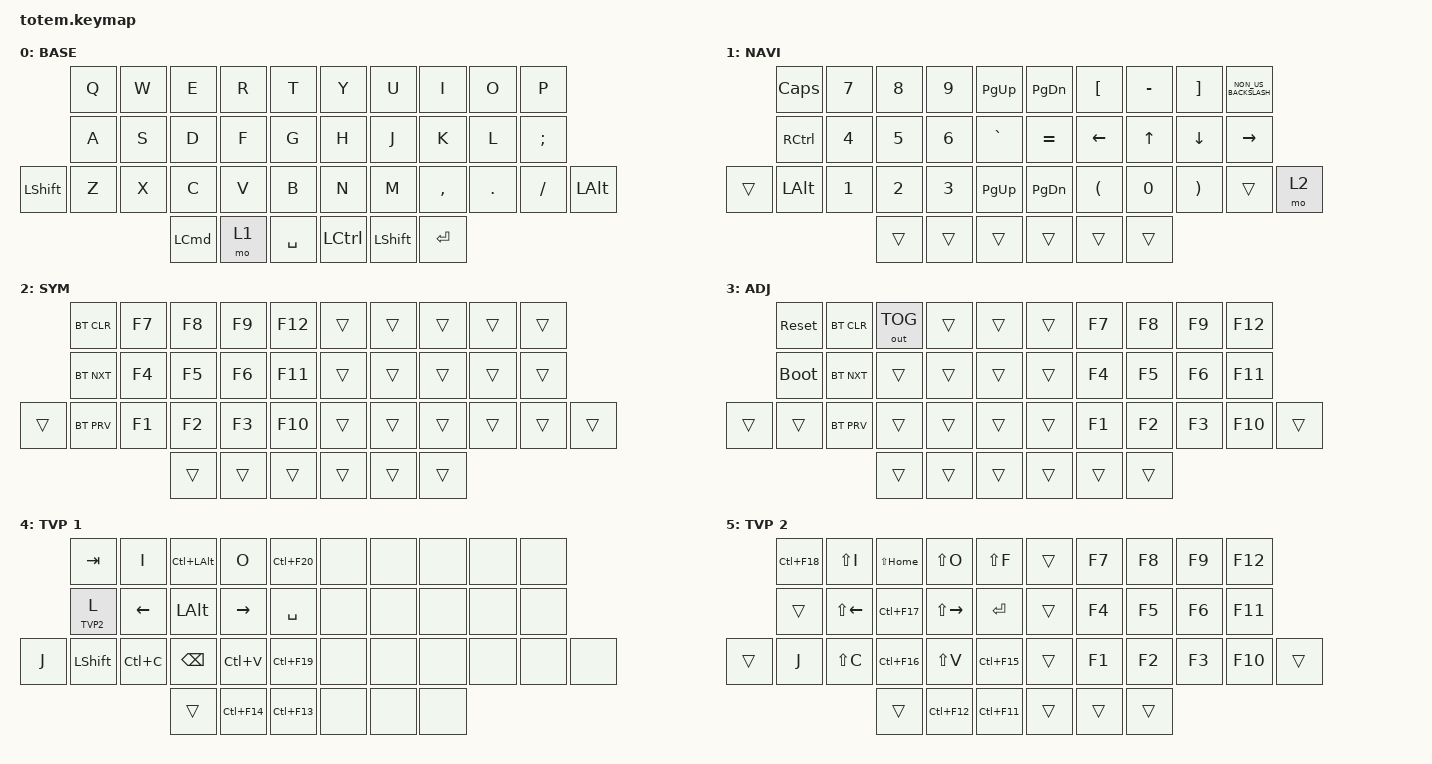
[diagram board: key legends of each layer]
//
//                                                        ▀▀▀▀▀     ▀▀▀▀▀          ▀▀█▀▀
//                                                        ▄▀▀▀▄  ▄  ▄▀▀▀▄  ▄  ▄▀▀▀▄  █  ▄▀▀▀▄
//                                                        █   █  █  █   █  █  █   █  █  █   █
//                                                         ▀▀▀   █   ▀▀▀   █   ▀▀▀   ▀   ▀▀▀
//                                                               █      ▄▄▄█▄▄▄    █   █  
//                                                               ▀      █  █  █     █▄█
//                                                             ▀▀▀▀▀    █  █  █      ▀
//                                                                      ▀  ▀  ▀
//
// ▄▄▄▄▄▄▄▄▄▄▄▄▄▄▄▄▄▄▄▄▄▄▄▄▄▄▄▄▄▄▄▄▄▄▄▄▄▄▄▄▄▄▄▄▄▄▄▄▄▄▄▄▄▄▄▄▄▄▄▄▄▄▄▄▄▄▄▄▄▄▄▄▄▄▄▄▄▄▄▄▄▄▄▄▄▄▄▄▄▄▄▄▄▄▄▄▄▄▄▄▄▄▄▄▄▄▄▄▄▄▄▄▄▄▄▄▄▄▄▄▄▄▄▄▄▄▄▄▄▄▄▄▄▄▄▄▄▄▄▄▄▄▄▄▄▄▄▄▄

#include <behaviors.dtsi>
#include <dt-bindings/zmk/bt.h>
#include <dt-bindings/zmk/keys.h>
#include <dt-bindings/zmk/outputs.h>

#define BASE 0
#define NAV  1
#define SYM  2
#define ADJ  3
#define TVP1 4
#define TVP2 5

&mt {
    quick-tap-ms = <100>;
    global-quick-tap;
    flavor = "tap-preferred";
    tapping-term-ms = <170>;
};

/ {
    combos {
        compatible = "zmk,combos";

        combo_esc {
            timeout-ms = <50>;
            key-positions = <13 12>;
            bindings = <&kp RIGHT_ALT>;
            require-prior-idle-ms = <100>;
        };

        altfsd {
            bindings = <&kp LEFT_COMMAND>;
            key-positions = <17 16>;
            require-prior-idle-ms = <100>;
        };

        ralt {
            bindings = <&kp TAB>;
            key-positions = <12 11>;
            require-prior-idle-ms = <100>;
        };

        space {
            bindings = <&kp ESCAPE>;
            key-positions = <23 22>;
        };

        back {
            bindings = <&kp BACKSPACE>;
            key-positions = <17 18>;
            require-prior-idle-ms = <100>;
            slow-release;
        };
    };

    macros {
        gif: gif {
            label = "giphy";
            compatible = "zmk,behavior-macro";
            #binding-cells = <0>;
            bindings =
                <&macro_press>,
                <&kp LSHFT>,
                <&macro_tap>,
                <&kp N2>,
                <&macro_release>,
                <&kp LSHFT>,
                <&macro_tap>,
                <&kp G &kp I &kp F>;
        };
    };

    keymap {
        compatible = "zmk,keymap";

        // ▄▄▄▄▄▄▄▄▄▄▄▄▄▄▄▄▄▄▄▄▄▄▄▄▄▄▄▄▄▄▄▄▄▄▄▄▄▄▄▄▄▄▄▄▄▄▄▄▄▄▄▄▄▄▄▄▄▄▄▄▄▄▄▄▄▄▄▄▄▄▄▄▄▄▄▄▄▄▄▄▄▄▄▄▄▄▄▄▄▄▄▄▄▄▄▄▄▄▄▄▄▄▄▄▄▄▄▄▄▄▄▄▄▄▄▄▄▄▄▄▄▄▄▄▄▄▄▄▄▄▄▄▄▄▄▄▄▄▄▄▄▄▄▄▄▄▄▄▄

        base_layer {
            // ┏━━━━━━━━━━━━━━━━━━━━━━━━━━━━━━━━━━━━━━━┓

            label = "BASE";

            // ┗━━━━━━━━━━━━━━━━━━━━━━━━━━━━━━━━━━━━━━━┛
            //             ┏━━━━━━━━━━━┳━━━━━━━━━━━┳━━━━━━━━━━━┳━━━━━━━━━━━┳━━━━━━━━━━━┓   ┏━━━━━━━━━━━┳━━━━━━━━━━━┳━━━━━━━━━━━┳━━━━━━━━━━━┳━━━━━━━━━━━┓
            //             ┃     Q     ┃     W     ┃     F     ┃     P     ┃     G     ┃   ┃     J     ┃     L     ┃     U     ┃     Y     ┃     ;     ┃
            //             ┣━━━━━━━━━━━╋━━━━━━━━━━━╋━━━━━━━━━━━╋━━━━━━━━━━━╋━━━━━━━━━━━┫   ┣━━━━━━━━━━━╋━━━━━━━━━━━╋━━━━━━━━━━━╋━━━━━━━━━━━╋━━━━━━━━━━━┫
            //             ┃     A     ┃     R     ┃     S     ┃     T     ┃     D     ┃   ┃     H     ┃     N     ┃     E     ┃     I     ┃     O     ┃
            // ┏━━━━━━━━━━━╋━━━━━━━━━━━╋━━━━━━━━━━━╋━━━━━━━━━━━╋━━━━━━━━━━━╋━━━━━━━━━━━┫   ┣━━━━━━━━━━━╋━━━━━━━━━━━╋━━━━━━━━━━━╋━━━━━━━━━━━╋━━━━━━━━━━━╋━━━━━━━━━━━┓
            // ┃     Q     ┃     Z     ┃     X     ┃     C     ┃     V     ┃     B     ┃   ┃     K     ┃     M     ┃     ,     ┃     .     ┃     /     ┃     \     ┃
            // ┗━━━━━━━━━━━┻━━━━━━━━━━━┻━━━━━━━━━━━╋━━━━━━━━━━━╋━━━━━━━━━━━╋━━━━━━━━━━━┫   ┣━━━━━━━━━━━╋━━━━━━━━━━━╋━━━━━━━━━━━╋━━━━━━━━━━━┻━━━━━━━━━━━┻━━━━━━━━━━━┛
            //                                     ┃    DEL    ┃    TAB    ┃    SPC    ┃   ┃   ENTER   ┃           ┃   BSPC    ┃
            //                                     ┗━━━━━━━━━━━┻━━━━━━━━━━━┻━━━━━━━━━━━┛   ┗━━━━━━━━━━━┻━━━━━━━━━━━┻━━━━━━━━━━━┛

            bindings = <
                &kp Q  &kp W  &kp E             &kp R  &kp T        &kp Y             &kp U      &kp I      &kp O    &kp P
                &kp A  &kp S  &kp D             &kp F  &kp G        &kp H             &kp J      &kp K      &kp L    &kp SEMICOLON
&kp LEFT_SHIFT  &kp Z  &kp X  &kp C             &kp V  &kp B        &kp N             &kp M      &kp COMMA  &kp DOT  &kp FSLH       &kp LEFT_ALT
                              &kp LEFT_COMMAND  &mo 1  &kp SPACE    &kp LEFT_CONTROL  &kp LSHFT  &kp ENTER
            >;
        };

        // ▄▄▄▄▄▄▄▄▄▄▄▄▄▄▄▄▄▄▄▄▄▄▄▄▄▄▄▄▄▄▄▄▄▄▄▄▄▄▄▄▄▄▄▄▄▄▄▄▄▄▄▄▄▄▄▄▄▄▄▄▄▄▄▄▄▄▄▄▄▄▄▄▄▄▄▄▄▄▄▄▄▄▄▄▄▄▄▄▄▄▄▄▄▄▄▄▄▄▄▄▄▄▄▄▄▄▄▄▄▄▄▄▄▄▄▄▄▄▄▄▄▄▄▄▄▄▄▄▄▄▄▄▄▄▄▄▄▄▄▄▄▄▄▄▄▄▄▄▄

        nav_layer {
            // ┏━━━━━━━━━━━━━━━━━━━━━━━━━━━━━━━━━━━━━━━┓

            label = "NAVI";

            // ┗━━━━━━━━━━━━━━━━━━━━━━━━━━━━━━━━━━━━━━━┛
            //             ┏━━━━━━━━━━━┳━━━━━━━━━━━┳━━━━━━━━━━━┳━━━━━━━━━━━┳━━━━━━━━━━━┓   ┏━━━━━━━━━━━┳━━━━━━━━━━━┳━━━━━━━━━━━┳━━━━━━━━━━━┳━━━━━━━━━━━┓
            //             ┃           ┃           ┃     UP    ┃           ┃     {     ┃   ┃     }     ┃     7     ┃     8     ┃     9     ┃     +     ┃
            //             ┣━━━━━━━━━━━╋━━━━━━━━━━━╋━━━━━━━━━━━╋━━━━━━━━━━━╋━━━━━━━━━━━┫   ┣━━━━━━━━━━━╋━━━━━━━━━━━╋━━━━━━━━━━━╋━━━━━━━━━━━╋━━━━━━━━━━━┫
            //             ┃   SHIFT   ┃   LEFT    ┃    DOWN   ┃   RIGHT   ┃     [     ┃   ┃     ]     ┃     4     ┃     5     ┃     6     ┃     -     ┃
            // ┏━━━━━━━━━━━╋━━━━━━━━━━━╋━━━━━━━━━━━╋━━━━━━━━━━━╋━━━━━━━━━━━╋━━━━━━━━━━━┫   ┣━━━━━━━━━━━╋━━━━━━━━━━━╋━━━━━━━━━━━╋━━━━━━━━━━━╋━━━━━━━━━━━╋━━━━━━━━━━━┓
            // ┃           ┃           ┃   P UP    ┃  C LOCK   ┃  P DOWN   ┃     (     ┃   ┃     )     ┃     1     ┃     2     ┃     3     ┃     *     ┃           ┃
            // ┗━━━━━━━━━━━┻━━━━━━━━━━━┻━━━━━━━━━━━╋━━━━━━━━━━━╋━━━━━━━━━━━╋━━━━━━━━━━━┫   ┣━━━━━━━━━━━╋━━━━━━━━━━━╋━━━━━━━━━━━╋━━━━━━━━━━━┻━━━━━━━━━━━┻━━━━━━━━━━━┛
            //                                     ┃           ┃    TAB    ┃    SPC    ┃   ┃    DEL    ┃     0     ┃           ┃
            //                                     ┗━━━━━━━━━━━┻━━━━━━━━━━━┻━━━━━━━━━━━┛   ┗━━━━━━━━━━━┻━━━━━━━━━━━┻━━━━━━━━━━━┛

            bindings = <
        &kp CAPSLOCK  &kp N7        &kp N8        &kp N9        &kp PG_UP      &kp PAGE_DOWN  &kp LEFT_BRACKET      &kp MINUS     &kp RIGHT_BRACKET      &kp NON_US_BACKSLASH
        &kp RCTRL     &kp NUMBER_4  &kp N5        &kp NUMBER_6  &kp GRAVE      &kp EQUAL      &kp LEFT_ARROW        &kp UP_ARROW  &kp DOWN               &kp RIGHT_ARROW
&trans  &kp LEFT_ALT  &kp NUMBER_1  &kp NUMBER_2  &kp NUMBER_3  &kp PAGE_UP    &kp PAGE_DOWN  &kp LEFT_PARENTHESIS  &kp NUMBER_0  &kp RIGHT_PARENTHESIS  &trans                &mo 2
                                    &trans        &trans        &trans         &trans         &trans                &trans
            >;
        };

        // ▄▄▄▄▄▄▄▄▄▄▄▄▄▄▄▄▄▄▄▄▄▄▄▄▄▄▄▄▄▄▄▄▄▄▄▄▄▄▄▄▄▄▄▄▄▄▄▄▄▄▄▄▄▄▄▄▄▄▄▄▄▄▄▄▄▄▄▄▄▄▄▄▄▄▄▄▄▄▄▄▄▄▄▄▄▄▄▄▄▄▄▄▄▄▄▄▄▄▄▄▄▄▄▄▄▄▄▄▄▄▄▄▄▄▄▄▄▄▄▄▄▄▄▄▄▄▄▄▄▄▄▄▄▄▄▄▄▄▄▄▄▄▄▄▄▄▄▄▄

        sim_layer {
            // ┏━━━━━━━━━━━━━━━━━━━━━━━━━━━━━━━━━━━━━━━┓

            label = "SYM";

            // ┗━━━━━━━━━━━━━━━━━━━━━━━━━━━━━━━━━━━━━━━┛
            //             ┏━━━━━━━━━━━┳━━━━━━━━━━━┳━━━━━━━━━━━┳━━━━━━━━━━━┳━━━━━━━━━━━┓   ┏━━━━━━━━━━━┳━━━━━━━━━━━┳━━━━━━━━━━━┳━━━━━━━━━━━┳━━━━━━━━━━━┓
            //             ┃     !     ┃     @     ┃     #     ┃     $     ┃     %     ┃   ┃     ˆ     ┃     &     ┃     Ü     ┃     '     ┃     "     ┃
            //             ┣━━━━━━━━━━━╋━━━━━━━━━━━╋━━━━━━━━━━━╋━━━━━━━━━━━╋━━━━━━━━━━━┫   ┣━━━━━━━━━━━╋━━━━━━━━━━━╋━━━━━━━━━━━╋━━━━━━━━━━━╋━━━━━━━━━━━┫
            //             ┃     Ä     ┃           ┃    SZ     ┃           ┃           ┃   ┃   MUTE    ┃   YEN     ┃   EURO    ┃  POUND    ┃     Ö     ┃
            // ┏━━━━━━━━━━━╋━━━━━━━━━━━╋━━━━━━━━━━━╋━━━━━━━━━━━╋━━━━━━━━━━━╋━━━━━━━━━━━┫   ┣━━━━━━━━━━━╋━━━━━━━━━━━╋━━━━━━━━━━━╋━━━━━━━━━━━╋━━━━━━━━━━━╋━━━━━━━━━━━┓
            // ┃           ┃  EMAIL1   ┃  EMAIL2   ┃           ┃           ┃           ┃   ┃   VOL-    ┃   VOL+    ┃   LAST    ┃   NEXT    ┃     \     ┃           ┃
            // ┗━━━━━━━━━━━┻━━━━━━━━━━━┻━━━━━━━━━━━╋━━━━━━━━━━━╋━━━━━━━━━━━╋━━━━━━━━━━━┫   ┣━━━━━━━━━━━╋━━━━━━━━━━━╋━━━━━━━━━━━╋━━━━━━━━━━━┻━━━━━━━━━━━┻━━━━━━━━━━━┛
            //                                     ┃           ┃    GIF    ┃    ADJ    ┃   ┃           ┃           ┃           ┃
            //                                     ┗━━━━━━━━━━━┻━━━━━━━━━━━┻━━━━━━━━━━━┛   ┗━━━━━━━━━━━┻━━━━━━━━━━━┻━━━━━━━━━━━┛

            bindings = <
        &bt BT_CLR  &kp F7  &kp F8  &kp F9  &kp F12    &trans  &trans  &trans  &trans  &trans
        &bt BT_NXT  &kp F4  &kp F5  &kp F6  &kp F11    &trans  &trans  &trans  &trans  &trans
&trans  &bt BT_PRV  &kp F1  &kp F2  &kp F3  &kp F10    &trans  &trans  &trans  &trans  &trans  &trans
                            &trans  &trans  &trans     &trans  &trans  &trans
            >;
        };

        // ▄▄▄▄▄▄▄▄▄▄▄▄▄▄▄▄▄▄▄▄▄▄▄▄▄▄▄▄▄▄▄▄▄▄▄▄▄▄▄▄▄▄▄▄▄▄▄▄▄▄▄▄▄▄▄▄▄▄▄▄▄▄▄▄▄▄▄▄▄▄▄▄▄▄▄▄▄▄▄▄▄▄▄▄▄▄▄▄▄▄▄▄▄▄▄▄▄▄▄▄▄▄▄▄▄▄▄▄▄▄▄▄▄▄▄▄▄▄▄▄▄▄▄▄▄▄▄▄▄▄▄▄▄▄▄▄▄▄▄▄▄▄▄▄▄▄▄▄▄

        adjust_layer {
            // ┏━━━━━━━━━━━━━━━━━━━━━━━━━━━━━━━━━━━━━━━┓

            label = "ADJ";

            // ┗━━━━━━━━━━━━━━━━━━━━━━━━━━━━━━━━━━━━━━━┛
            //             ┏━━━━━━━━━━━┳━━━━━━━━━━━┳━━━━━━━━━━━┳━━━━━━━━━━━┳━━━━━━━━━━━┓   ┏━━━━━━━━━━━┳━━━━━━━━━━━┳━━━━━━━━━━━┳━━━━━━━━━━━┳━━━━━━━━━━━┓
            //             ┃   RESET   ┃ BT CLEAR  ┃  OUT TOG  ┃           ┃           ┃   ┃           ┃    F7     ┃    F8     ┃    F9     ┃    F12    ┃
            //             ┣━━━━━━━━━━━╋━━━━━━━━━━━╋━━━━━━━━━━━╋━━━━━━━━━━━╋━━━━━━━━━━━┫   ┣━━━━━━━━━━━╋━━━━━━━━━━━╋━━━━━━━━━━━╋━━━━━━━━━━━╋━━━━━━━━━━━┫
            //             ┃ BOOTLOAD  ┃ BT NEXT   ┃           ┃           ┃           ┃   ┃           ┃    F4     ┃    F5     ┃    F6     ┃    F11    ┃
            // ┏━━━━━━━━━━━╋━━━━━━━━━━━╋━━━━━━━━━━━╋━━━━━━━━━━━╋━━━━━━━━━━━╋━━━━━━━━━━━┫   ┣━━━━━━━━━━━╋━━━━━━━━━━━╋━━━━━━━━━━━╋━━━━━━━━━━━╋━━━━━━━━━━━╋━━━━━━━━━━━┓
            // ┃           ┃           ┃ BT PREV   ┃           ┃           ┃           ┃   ┃           ┃    F1     ┃    F2     ┃    F3     ┃    F10    ┃           ┃
            // ┗━━━━━━━━━━━┻━━━━━━━━━━━┻━━━━━━━━━━━╋━━━━━━━━━━━╋━━━━━━━━━━━╋━━━━━━━━━━━┫   ┣━━━━━━━━━━━╋━━━━━━━━━━━╋━━━━━━━━━━━╋━━━━━━━━━━━┻━━━━━━━━━━━┻━━━━━━━━━━━┛
            //                                     ┃           ┃           ┃           ┃   ┃           ┃           ┃           ┃
            //                                     ┗━━━━━━━━━━━┻━━━━━━━━━━━┻━━━━━━━━━━━┛   ┗━━━━━━━━━━━┻━━━━━━━━━━━┻━━━━━━━━━━━┛

            bindings = <
        &sys_reset   &bt BT_CLR  &out OUT_TOG  &trans  &trans    &trans  &kp F7  &kp F8  &kp F9  &kp F12
        &bootloader  &bt BT_NXT  &trans        &trans  &trans    &trans  &kp F4  &kp F5  &kp F6  &kp F11
&trans  &trans       &bt BT_PRV  &trans        &trans  &trans    &trans  &kp F1  &kp F2  &kp F3  &kp F10  &trans
                                 &trans        &trans  &trans    &trans  &trans  &trans
            >;
        };

        // ▄▄▄▄▄▄▄▄▄▄▄▄▄▄▄▄▄▄▄▄▄▄▄▄▄▄▄▄▄▄▄▄▄▄▄▄▄▄▄▄▄▄▄▄▄▄▄▄▄▄▄▄▄▄▄▄▄▄▄▄▄▄▄▄▄▄▄▄▄▄▄▄▄▄▄▄▄▄▄▄▄▄▄▄▄▄▄▄▄▄▄▄▄▄▄▄▄▄▄▄▄▄▄▄▄▄▄▄▄▄▄▄▄▄▄▄▄▄▄▄▄▄▄▄▄▄▄▄▄▄▄▄▄▄▄▄▄▄▄▄▄▄▄▄▄▄▄▄▄

        tvp1_layer {
            // ┏━━━━━━━━━━━━━━━━━━━━━━━━━━━━━━━━━━━━━━━┓

            label = "TVP 1";

            // ┗━━━━━━━━━━━━━━━━━━━━━━━━━━━━━━━━━━━━━━━┛
            //             ┏━━━━━━━━━━━┳━━━━━━━━━━━┳━━━━━━━━━━━┳━━━━━━━━━━━┳━━━━━━━━━━━┓   ┏━━━━━━━━━━━┳━━━━━━━━━━━┳━━━━━━━━━━━┳━━━━━━━━━━━┳━━━━━━━━━━━┓
            //             ┃ NEXT FILE ┃ MARK IN   ┃ ROTATE    ┃ MARK OUT  ┃ SHOW SNAP ┃   ┃           ┃           ┃           ┃           ┃           ┃
            //             ┣━━━━━━━━━━━╋━━━━━━━━━━━╋━━━━━━━━━━━╋━━━━━━━━━━━╋━━━━━━━━━━━┫   ┣━━━━━━━━━━━╋━━━━━━━━━━━╋━━━━━━━━━━━╋━━━━━━━━━━━╋━━━━━━━━━━━┫
            //             ┃ TVP II    ┃ LEFT      ┃ PAN       ┃ RIGHT     ┃ PLAY/FLIP ┃   ┃           ┃           ┃           ┃           ┃           ┃
            // ┏━━━━━━━━━━━╋━━━━━━━━━━━╋━━━━━━━━━━━╋━━━━━━━━━━━╋━━━━━━━━━━━╋━━━━━━━━━━━┫   ┣━━━━━━━━━━━╋━━━━━━━━━━━╋━━━━━━━━━━━╋━━━━━━━━━━━╋━━━━━━━━━━━╋━━━━━━━━━━━┓
            // ┃ FULLSCR   ┃ SHIFT     ┃ COPY      ┃ DELETE    ┃ PASTE     ┃ IMG MARK  ┃   ┃           ┃           ┃           ┃           ┃           ┃           ┃
            // ┗━━━━━━━━━━━┻━━━━━━━━━━━┻━━━━━━━━━━━╋━━━━━━━━━━━╋━━━━━━━━━━━╋━━━━━━━━━━━┫   ┣━━━━━━━━━━━╋━━━━━━━━━━━╋━━━━━━━━━━━╋━━━━━━━━━━━┻━━━━━━━━━━━┻━━━━━━━━━━━┛
            //                                     ┃           ┃ UNDO/SAVE ┃  SEL/MOV  ┃   ┃           ┃           ┃           ┃
            //                                     ┗━━━━━━━━━━━┻━━━━━━━━━━━┻━━━━━━━━━━━┛   ┗━━━━━━━━━━━┻━━━━━━━━━━━┻━━━━━━━━━━━┛

            bindings = <
       &kp TAB     &kp I      &kp LC(LALT)  &kp O        &kp LC(F20)    &none  &none  &none  &none  &none
       &lt TVP2 L  &kp LEFT   &kp LALT      &kp RIGHT    &kp SPACE      &none  &none  &none  &none  &none
&kp J  &kp LSHFT   &kp LC(C)  &kp BSPC      &kp LC(V)    &kp LC(F19)    &none  &none  &none  &none  &none  &none
                              &trans        &kp LC(F14)  &kp LC(F13)    &none  &none  &none
            >;
        };

        // ▄▄▄▄▄▄▄▄▄▄▄▄▄▄▄▄▄▄▄▄▄▄▄▄▄▄▄▄▄▄▄▄▄▄▄▄▄▄▄▄▄▄▄▄▄▄▄▄▄▄▄▄▄▄▄▄▄▄▄▄▄▄▄▄▄▄▄▄▄▄▄▄▄▄▄▄▄▄▄▄▄▄▄▄▄▄▄▄▄▄▄▄▄▄▄▄▄▄▄▄▄▄▄▄▄▄▄▄▄▄▄▄▄▄▄▄▄▄▄▄▄▄▄▄▄▄▄▄▄▄▄▄▄▄▄▄▄▄▄▄▄▄▄▄▄▄▄▄▄

        tvp2_layer {
            // ┏━━━━━━━━━━━━━━━━━━━━━━━━━━━━━━━━━━━━━━━┓

            label = "TVP 2";

            // ┗━━━━━━━━━━━━━━━━━━━━━━━━━━━━━━━━━━━━━━━┛
            //             ┏━━━━━━━━━━━┳━━━━━━━━━━━┳━━━━━━━━━━━┳━━━━━━━━━━━┳━━━━━━━━━━━┓   ┏━━━━━━━━━━━┳━━━━━━━━━━━┳━━━━━━━━━━━┳━━━━━━━━━━━┳━━━━━━━━━━━┓
            //             ┃ SOLO      ┃ TOGGLE IN ┃ RESET ROT ┃ TOGGLE OUT┃ TAKE SNAP ┃   ┃           ┃           ┃           ┃           ┃           ┃
            //             ┣━━━━━━━━━━━╋━━━━━━━━━━━╋━━━━━━━━━━━╋━━━━━━━━━━━╋━━━━━━━━━━━┫   ┣━━━━━━━━━━━╋━━━━━━━━━━━╋━━━━━━━━━━━╋━━━━━━━━━━━╋━━━━━━━━━━━┫
            //             ┃ ---       ┃ LAST KEY  ┃ NEW KEY   ┃ NEXT KEY  ┃ ENTER     ┃   ┃           ┃           ┃           ┃           ┃           ┃
            // ┏━━━━━━━━━━━╋━━━━━━━━━━━╋━━━━━━━━━━━╋━━━━━━━━━━━╋━━━━━━━━━━━╋━━━━━━━━━━━┫   ┣━━━━━━━━━━━╋━━━━━━━━━━━╋━━━━━━━━━━━╋━━━━━━━━━━━╋━━━━━━━━━━━╋━━━━━━━━━━━┓
            // ┃           ┃ FULLSCR   ┃ CPY2BRUSH ┃ DEL HEAD  ┃ PSTinPLACE┃ BOOK MARK ┃   ┃           ┃           ┃           ┃           ┃           ┃           ┃
            // ┗━━━━━━━━━━━┻━━━━━━━━━━━┻━━━━━━━━━━━╋━━━━━━━━━━━╋━━━━━━━━━━━╋━━━━━━━━━━━┫   ┣━━━━━━━━━━━╋━━━━━━━━━━━╋━━━━━━━━━━━╋━━━━━━━━━━━┻━━━━━━━━━━━┻━━━━━━━━━━━┛
            //                                     ┃           ┃ REDO/SAV1 ┃TRANS/WARP ┃   ┃           ┃           ┃           ┃
            //                                     ┗━━━━━━━━━━━┻━━━━━━━━━━━┻━━━━━━━━━━━┛   ┗━━━━━━━━━━━┻━━━━━━━━━━━┻━━━━━━━━━━━┛

            bindings = <
        &kp LC(F18)  &kp LS(I)     &kp LS(HOME)  &kp LS(O)      &kp LS(F)      &trans  &kp F7  &kp F8  &kp F9  &kp F12
        &trans       &kp LS(LEFT)  &kp LC(F17)   &kp LS(RIGHT)  &kp RET        &trans  &kp F4  &kp F5  &kp F6  &kp F11
&trans  &kp J        &kp LS(C)     &kp LC(F16)   &kp LS(V)      &kp LC(F15)    &trans  &kp F1  &kp F2  &kp F3  &kp F10  &trans
                                   &trans        &kp LC(F12)    &kp LC(F11)    &trans  &trans  &trans
            >;
        };
    };
};
